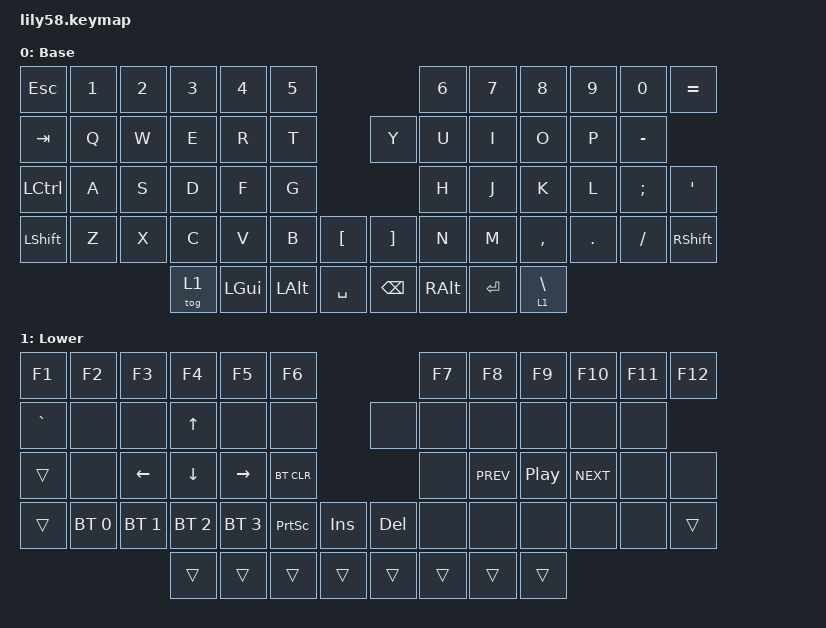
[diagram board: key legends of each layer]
/*
 * Copyright (c) 2020 The ZMK Contributors
 *
 * SPDX-License-Identifier: MIT
 */

#include <behaviors.dtsi>
#include <dt-bindings/zmk/keys.h>
#include <dt-bindings/zmk/bt.h>

/ {
    keymap {
        compatible = "zmk,keymap";

        default_layer {
            // ------------------------------------------------------------------------------------------------------------
            // |  ESC  |  1  |  2  |  3   |  4   |  5   |                   |  6   |  7    |  8    |  9   |   0   |   `   |
            // |  TAB  |  Q  |  W  |  E   |  R   |  T   |                   |  Y   |  U    |  I    |  O   |   P   |   -   |
            // |  CTRL |  A  |  S  |  D   |  F   |  G   |                   |  H   |  J    |  K    |  L   |   ;   |   '   |
            // | SHIFT |  Z  |  X  |  C   |  V   |  B   |   "["  |  |  "]"  |  N   |  M    |  ,    |  .   |   /   | SHIFT |
            //                     | ALT  | GUI  | LOWER|  SPACE |  | ENTER | RAISE| BSPC  | GUI   |

            display-name = "Base";
            bindings = <
&kp ESC    &kp N1  &kp N2         &kp N3       &kp N4           &kp N5                                    &kp N6         &kp N7     &kp N8           &kp N9   &kp N0    &kp EQUAL
&kp TAB    &kp Q   &kp W   &kp E   &kp R     &kp T                                     &kp Y          &kp U      &kp I            &kp O    &kp P     &kp MINUS
&kp LCTRL  &kp A   &kp S          &kp D        &kp F            &kp G                                     &kp H          &kp J      &kp K            &kp L    &kp SEMI  &kp SQT
&kp LSHFT  &kp Z   &kp X          &kp C        &kp V            &kp B         &kp LBKT     &kp RBKT       &kp N          &kp M      &kp COMMA        &kp DOT  &kp FSLH  &kp RSHFT
                                  &tog 1       &kp LGUI         &kp LEFT_ALT  &kp SPACE    &kp BACKSPACE  &kp RIGHT_ALT  &kp ENTER  &lt 1 BACKSLASH
            >;
        };

        lower_layer {
            display-name = "Lower";
            bindings = <
&kp F1     &kp F2       &kp F3          &kp F4          &kp F5           &kp F6                                     &kp F7     &kp F8           &kp F9           &kp F10          &kp F11          &kp F12
&kp GRAVE  &none        &none           &kp UP_ARROW    &none            &none                                      &none      &none            &none            &none            &none            &none
&trans     &none        &kp LEFT_ARROW  &kp DOWN_ARROW  &kp RIGHT_ARROW  &bt BT_CLR                                 &none      &kp C_PREV       &kp C_PP         &kp C_NEXT             &none            &none
&trans     &bt BT_SEL 0 &bt BT_SEL 1    &bt BT_SEL 2    &bt BT_SEL 3     &kp PRINTSCREEN  &kp INSERT    &kp DELETE  &none      &none            &none            &none            &none            &trans
                                        &trans          &trans           &trans           &trans        &trans      &trans     &trans           &trans
            >;
        };
    };
};
